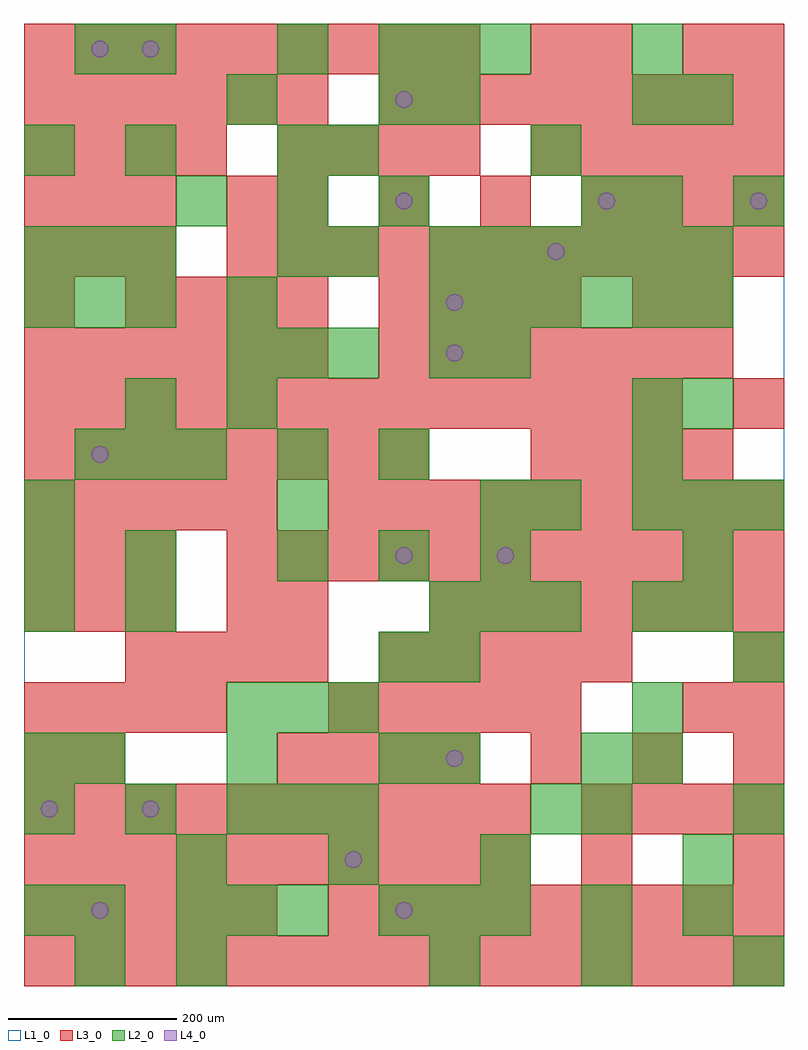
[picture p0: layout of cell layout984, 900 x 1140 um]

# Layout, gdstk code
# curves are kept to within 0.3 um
import gdstk
lib = gdstk.Library(unit=1e-6, precision=1e-09)
def R(c, l, rs):  # rectangles x0, y0, x1, y1
    for r in rs: c.add(gdstk.rectangle(r[:2], r[2:], *l))
def A(c, l, x, y, w, h, nx, ny, dx, dy):  # array of equal rectangles
    R(c, l, [(x+i*dx, y+j*dy, x+i*dx+w, y+j*dy+h) for i in range(nx) for j in range(ny)])
def P(c, l, *ps):  # polygons
    for p in ps: c.add(gdstk.Polygon(p, *l))
L1_0 = (1, 0)
L2_0 = (2, 0)
L3_0 = (3, 0)
L4_0 = (4, 0)

layout984 = lib.new_cell('layout984')
R(layout984, L1_0, [(0,0,900,1140)])
A(layout984, L2_0, 480, 0, 60, 60, 3, 1, 180, 0)
A(layout984, L2_0, 0, 60, 60, 60, 1, 3, 0, 180)
A(layout984, L2_0, 180, 60, 60, 60, 3, 1, 60, 0)
A(layout984, L2_0, 420, 60, 60, 60, 3, 2, 60, 1020)
A(layout984, L2_0, 180, 120, 60, 60, 3, 1, 180, 0)
A(layout984, L2_0, 0, 180, 60, 60, 3, 1, 120, 0)
A(layout984, L2_0, 60, 240, 60, 60, 3, 1, 180, 0)
A(layout984, L2_0, 240, 300, 60, 60, 3, 2, 60, 420)
A(layout984, L2_0, 480, 420, 60, 60, 3, 1, 60, 0)
A(layout984, L2_0, 300, 480, 60, 60, 3, 1, 120, 0)
A(layout984, L2_0, 720, 540, 60, 60, 3, 1, 60, 0)
A(layout984, L2_0, 60, 600, 60, 60, 3, 1, 60, 0)
A(layout984, L2_0, 0, 780, 60, 60, 3, 2, 60, 60)
A(layout984, L2_0, 480, 780, 60, 60, 6, 2, 60, 60)
A(layout984, L2_0, 300, 840, 60, 60, 1, 3, 0, 120)
A(layout984, L2_0, 180, 900, 60, 60, 3, 1, 120, 0)
R(layout984, L2_0, [(60,0,120,60), (180,0,240,60), (60,60,120,120), (660,60,720,120), (780,60,840,120), (780,120,840,180), (300,180,360,240), (360,180,420,240), (600,180,660,240), (660,180,720,240), (840,180,900,240), (480,240,540,300), (660,240,720,300), (720,240,780,300), (720,300,780,360), (420,360,480,420), (480,360,540,420), (840,360,900,420), (120,420,180,480), (720,420,780,480), (780,420,840,480), (0,480,60,540), (120,480,180,540), (780,480,840,540), (0,540,60,600), (300,540,360,600), (540,540,600,600), (600,540,660,600), (300,600,360,660), (420,600,480,660), (720,600,780,660), (120,660,180,720), (240,660,300,720), (720,660,780,720), (780,660,840,720), (480,720,540,780), (540,720,600,780), (240,780,300,840), (360,840,420,900), (660,900,720,960), (720,900,780,960), (840,900,900,960), (0,960,60,1020), (120,960,180,1020), (360,960,420,1020), (600,960,660,1020), (240,1020,300,1080), (420,1020,480,1080), (480,1020,540,1080), (720,1020,780,1080), (780,1020,840,1080), (60,1080,120,1140), (120,1080,180,1140), (720,1080,780,1140)])
A(layout984, L3_0, 0, 0, 60, 60, 15, 1, 60, 0)
A(layout984, L3_0, 0, 60, 60, 60, 5, 2, 60, 480)
A(layout984, L3_0, 360, 60, 60, 60, 9, 2, 60, 480)
A(layout984, L3_0, 0, 120, 60, 60, 10, 2, 60, 60)
A(layout984, L3_0, 660, 180, 60, 60, 4, 1, 60, 0)
A(layout984, L3_0, 300, 240, 60, 60, 4, 2, 60, 720)
A(layout984, L3_0, 600, 240, 60, 60, 3, 1, 120, 0)
A(layout984, L3_0, 0, 300, 60, 60, 4, 2, 60, 660)
A(layout984, L3_0, 360, 300, 60, 60, 5, 1, 60, 0)
A(layout984, L3_0, 120, 360, 60, 60, 4, 2, 60, 420)
A(layout984, L3_0, 420, 360, 60, 60, 5, 1, 60, 0)
A(layout984, L3_0, 0, 420, 60, 60, 3, 2, 60, 60)
A(layout984, L3_0, 480, 420, 60, 60, 7, 1, 60, 0)
A(layout984, L3_0, 240, 480, 60, 60, 11, 2, 60, 360)
A(layout984, L3_0, 0, 600, 60, 60, 8, 1, 60, 0)
A(layout984, L3_0, 600, 600, 60, 60, 4, 1, 60, 0)
A(layout984, L3_0, 0, 660, 60, 60, 13, 1, 60, 0)
A(layout984, L3_0, 0, 720, 60, 60, 6, 2, 60, 300)
A(layout984, L3_0, 420, 720, 60, 60, 7, 1, 60, 0)
A(layout984, L3_0, 420, 780, 60, 60, 4, 1, 60, 0)
A(layout984, L3_0, 0, 840, 60, 60, 3, 2, 60, 60)
A(layout984, L3_0, 300, 900, 60, 60, 4, 1, 120, 0)
A(layout984, L3_0, 720, 900, 60, 60, 3, 1, 60, 0)
A(layout984, L3_0, 600, 960, 60, 60, 5, 1, 60, 0)
A(layout984, L3_0, 420, 1020, 60, 60, 8, 1, 60, 0)
A(layout984, L3_0, 0, 1080, 60, 60, 9, 1, 60, 0)
R(layout984, L3_0, [(660,120,720,180), (840,120,900,180), (0,240,60,300), (60,240,120,300), (780,300,840,360), (840,300,900,360), (840,360,900,420), (240,420,300,480), (300,420,360,480), (840,660,900,720), (0,780,60,840), (720,780,780,840), (780,780,840,840), (240,900,300,960), (600,1080,660,1140), (660,1080,720,1140), (780,1080,840,1140), (840,1080,900,1140)])
P(layout984, L4_0, [(40,210),(39.239,213.827),(37.071,217.071),(33.827,219.239),(30,220),(26.173,219.239),(22.929,217.071),(20.761,213.827),(20,210),(20.761,206.173),(22.929,202.929),(26.173,200.761),(30,200),(33.827,200.761),(37.071,202.929),(39.239,206.173)],
  [(100,90),(99.239,93.827),(97.071,97.071),(93.827,99.239),(90,100),(86.173,99.239),(82.929,97.071),(80.761,93.827),(80,90),(80.761,86.173),(82.929,82.929),(86.173,80.761),(90,80),(93.827,80.761),(97.071,82.929),(99.239,86.173)],
  [(100,630),(99.239,633.827),(97.071,637.071),(93.827,639.239),(90,640),(86.173,639.239),(82.929,637.071),(80.761,633.827),(80,630),(80.761,626.173),(82.929,622.929),(86.173,620.761),(90,620),(93.827,620.761),(97.071,622.929),(99.239,626.173)],
  [(100,1110),(99.239,1113.827),(97.071,1117.071),(93.827,1119.239),(90,1120),(86.173,1119.239),(82.929,1117.071),(80.761,1113.827),(80,1110),(80.761,1106.173),(82.929,1102.929),(86.173,1100.761),(90,1100),(93.827,1100.761),(97.071,1102.929),(99.239,1106.173)],
  [(160,210),(159.239,213.827),(157.071,217.071),(153.827,219.239),(150,220),(146.173,219.239),(142.929,217.071),(140.761,213.827),(140,210),(140.761,206.173),(142.929,202.929),(146.173,200.761),(150,200),(153.827,200.761),(157.071,202.929),(159.239,206.173)],
  [(160,1110),(159.239,1113.827),(157.071,1117.071),(153.827,1119.239),(150,1120),(146.173,1119.239),(142.929,1117.071),(140.761,1113.827),(140,1110),(140.761,1106.173),(142.929,1102.929),(146.173,1100.761),(150,1100),(153.827,1100.761),(157.071,1102.929),(159.239,1106.173)],
  [(400,150),(399.239,153.827),(397.071,157.071),(393.827,159.239),(390,160),(386.173,159.239),(382.929,157.071),(380.761,153.827),(380,150),(380.761,146.173),(382.929,142.929),(386.173,140.761),(390,140),(393.827,140.761),(397.071,142.929),(399.239,146.173)],
  [(460,90),(459.239,93.827),(457.071,97.071),(453.827,99.239),(450,100),(446.173,99.239),(442.929,97.071),(440.761,93.827),(440,90),(440.761,86.173),(442.929,82.929),(446.173,80.761),(450,80),(453.827,80.761),(457.071,82.929),(459.239,86.173)],
  [(460,510),(459.239,513.827),(457.071,517.071),(453.827,519.239),(450,520),(446.173,519.239),(442.929,517.071),(440.761,513.827),(440,510),(440.761,506.173),(442.929,502.929),(446.173,500.761),(450,500),(453.827,500.761),(457.071,502.929),(459.239,506.173)],
  [(460,930),(459.239,933.827),(457.071,937.071),(453.827,939.239),(450,940),(446.173,939.239),(442.929,937.071),(440.761,933.827),(440,930),(440.761,926.173),(442.929,922.929),(446.173,920.761),(450,920),(453.827,920.761),(457.071,922.929),(459.239,926.173)],
  [(460,1050),(459.239,1053.827),(457.071,1057.071),(453.827,1059.239),(450,1060),(446.173,1059.239),(442.929,1057.071),(440.761,1053.827),(440,1050),(440.761,1046.173),(442.929,1042.929),(446.173,1040.761),(450,1040),(453.827,1040.761),(457.071,1042.929),(459.239,1046.173)],
  [(520,270),(519.239,273.827),(517.071,277.071),(513.827,279.239),(510,280),(506.173,279.239),(502.929,277.071),(500.761,273.827),(500,270),(500.761,266.173),(502.929,262.929),(506.173,260.761),(510,260),(513.827,260.761),(517.071,262.929),(519.239,266.173)],
  [(520,750),(519.239,753.827),(517.071,757.071),(513.827,759.239),(510,760),(506.173,759.239),(502.929,757.071),(500.761,753.827),(500,750),(500.761,746.173),(502.929,742.929),(506.173,740.761),(510,740),(513.827,740.761),(517.071,742.929),(519.239,746.173)],
  [(520,810),(519.239,813.827),(517.071,817.071),(513.827,819.239),(510,820),(506.173,819.239),(502.929,817.071),(500.761,813.827),(500,810),(500.761,806.173),(502.929,802.929),(506.173,800.761),(510,800),(513.827,800.761),(517.071,802.929),(519.239,806.173)],
  [(580,510),(579.239,513.827),(577.071,517.071),(573.827,519.239),(570,520),(566.173,519.239),(562.929,517.071),(560.761,513.827),(560,510),(560.761,506.173),(562.929,502.929),(566.173,500.761),(570,500),(573.827,500.761),(577.071,502.929),(579.239,506.173)],
  [(640,870),(639.239,873.827),(637.071,877.071),(633.827,879.239),(630,880),(626.173,879.239),(622.929,877.071),(620.761,873.827),(620,870),(620.761,866.173),(622.929,862.929),(626.173,860.761),(630,860),(633.827,860.761),(637.071,862.929),(639.239,866.173)],
  [(700,930),(699.239,933.827),(697.071,937.071),(693.827,939.239),(690,940),(686.173,939.239),(682.929,937.071),(680.761,933.827),(680,930),(680.761,926.173),(682.929,922.929),(686.173,920.761),(690,920),(693.827,920.761),(697.071,922.929),(699.239,926.173)],
  [(880,930),(879.239,933.827),(877.071,937.071),(873.827,939.239),(870,940),(866.173,939.239),(862.929,937.071),(860.761,933.827),(860,930),(860.761,926.173),(862.929,922.929),(866.173,920.761),(870,920),(873.827,920.761),(877.071,922.929),(879.239,926.173)])

lib.write_gds('layout984.gds')
